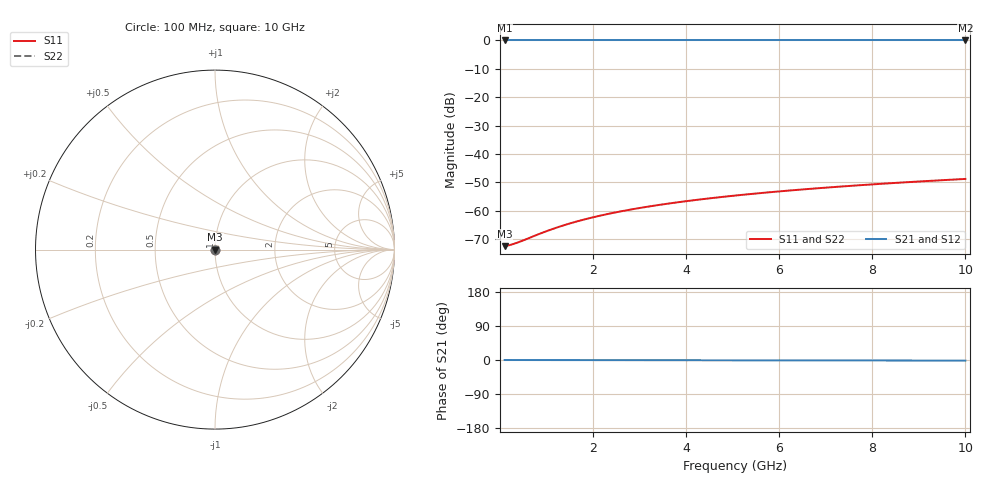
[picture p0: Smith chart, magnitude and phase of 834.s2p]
# Hz S RI R 50.00
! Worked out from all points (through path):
!   100 points, 100 MHz to 10 GHz, reference 50 ohm
!   highest |S21| = 0.00 dB at 100 MHz (marker M1); lowest = 0.0 dB at 10 GHz (marker M2)
!   lowest |S11| = -72.5 dB at 100 MHz (marker M3), VSWR 1.00, Z = 50 + j0.00362 ohm
!   |S11| at or under -10 dB: start of sweep to end of sweep
!   |S22| runs from -72.5 to -48.8 dB; largest |S21 - S12| = 0
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1e8  0.000234 3.62e-05  0.9998 -0.000269  0.9998 -0.000269  0.000234 3.62e-05
2e8  0.000236 7.23e-05  0.9998 -0.000539  0.9998 -0.000539  0.000236 7.23e-05
3e8  0.000237 0.000109  0.9998 -0.000809  0.9998 -0.000809  0.000237 0.000109
4e8  0.000238 0.000145  0.9998 -0.00108  0.9998 -0.00108  0.000238 0.000145
9e8  0.000241 0.000326  0.9998 -0.00243  0.9998 -0.00243  0.000241 0.000326
1.2e9  0.000243 0.000434  0.9997 -0.00323  0.9997 -0.00323  0.000243 0.000434
1.5e9  0.000244 0.000542  0.9997 -0.00404  0.9997 -0.00404  0.000244 0.000542
1.8e9  0.000246 0.000651  0.9997 -0.00485  0.9997 -0.00485  0.000246 0.000651
2.1e9  0.000248 0.000759  0.9997 -0.00566  0.9997 -0.00566  0.000248 0.000759
2.5e9  0.000251 0.000904  0.9997 -0.00674  0.9997 -0.00674  0.000251 0.000904
2.9e9  0.000254 0.00105  0.9997 -0.00782  0.9997 -0.00782  0.000254 0.00105
3.4e9  0.000258 0.00123  0.9997 -0.00917  0.9997 -0.00917  0.000258 0.00123
3.8e9  0.000261 0.00137  0.9997 -0.0102  0.9997 -0.0102  0.000261 0.00137
4.2e9  0.000265 0.00152  0.9997 -0.0113  0.9997 -0.0113  0.000265 0.00152
4.6e9  0.000269 0.00166  0.9997 -0.0124  0.9997 -0.0124  0.000269 0.00166
5.1e9  0.000275 0.00184  0.9996 -0.0138  0.9996 -0.0138  0.000275 0.00184
5.9e9  0.000284 0.00213  0.9996 -0.0159  0.9996 -0.0159  0.000284 0.00213
6.7e9  0.000295 0.00242  0.9996 -0.0181  0.9996 -0.0181  0.000295 0.00242
7.5e9  0.000308 0.00271  0.9995 -0.0202  0.9995 -0.0202  0.000308 0.00271
8.4e9  0.000323 0.00303  0.9995 -0.0227  0.9995 -0.0227  0.000323 0.00303
9.2e9  0.000338 0.00332  0.9994 -0.0248  0.9994 -0.0248  0.000338 0.00332
1e10  0.000354 0.00361  0.9993 -0.027  0.9993 -0.027  0.000354 0.00361
